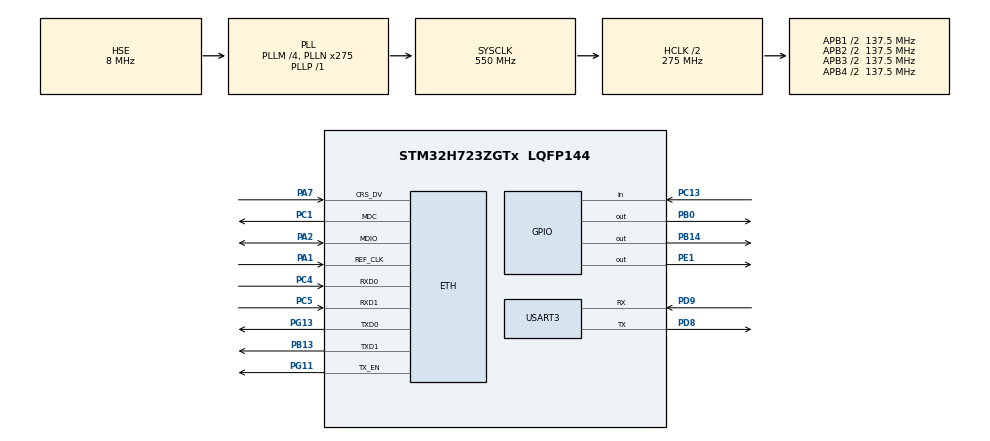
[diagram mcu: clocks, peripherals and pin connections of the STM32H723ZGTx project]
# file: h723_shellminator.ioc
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CORTEX_M7.default_mode_Activation=1
Dma.Request0=USART3_RX
Dma.USART3_RX.0.Direction=DMA_PERIPH_TO_MEMORY
Dma.USART3_RX.0.EventEnable=DISABLE
Dma.USART3_RX.0.FIFOMode=DMA_FIFOMODE_DISABLE
Dma.USART3_RX.0.Instance=DMA1_Stream0
Dma.USART3_RX.0.MemDataAlignment=DMA_MDATAALIGN_BYTE
Dma.USART3_RX.0.MemInc=DMA_MINC_ENABLE
Dma.USART3_RX.0.Mode=DMA_CIRCULAR
Dma.USART3_RX.0.PeriphDataAlignment=DMA_PDATAALIGN_BYTE
Dma.USART3_RX.0.PeriphInc=DMA_PINC_DISABLE
Dma.USART3_RX.0.Polarity=HAL_DMAMUX_REQ_GEN_RISING
Dma.USART3_RX.0.Priority=DMA_PRIORITY_MEDIUM
Dma.USART3_RX.0.RequestNumber=1
Dma.USART3_RX.0.SignalID=NONE
Dma.USART3_RX.0.SyncEnable=DISABLE
Dma.USART3_RX.0.SyncPolarity=HAL_DMAMUX_SYNC_NO_EVENT
Dma.USART3_RX.0.SyncRequestNumber=1
Dma.USART3_RX.0.SyncSignalID=NONE
ETH.MediaInterface=HAL_ETH_RMII_MODE
Mcu.Family=STM32H7
Mcu.Name=STM32H723ZGTx
Mcu.Package=LQFP144
NUCLEO-H723ZG.BUTTON=1
NUCLEO-H723ZG.LD1=true
NUCLEO-H723ZG.LD2=true
NUCLEO-H723ZG.LD3=true
NUCLEO-H723ZG.VCP=false
NVIC.DMA1_Stream0_IRQn=true\:0\:0\:false\:false\:true\:false\:true\:true
NVIC.ETH_IRQn=true\:0\:0\:false\:false\:false\:true\:true\:true
NVIC.EXTI15_10_IRQn=true\:0\:0\:false\:false\:true\:false\:true\:true
NVIC.PriorityGroup=NVIC_PRIORITYGROUP_4
PA1.Mode=RMII
PA1.Signal=ETH_REF_CLK
PA13(JTMS/SWDIO).GPIO_Label=SWDIO
PA13(JTMS/SWDIO).Signal=DEBUG_JTMS-SWDIO
PA14(JTCK/SWCLK).GPIO_Label=SWCLK
PA14(JTCK/SWCLK).Signal=DEBUG_JTCK-SWCLK
PA2.Mode=RMII
PA2.Signal=ETH_MDIO
PA7.Mode=RMII
PA7.Signal=ETH_CRS_DV
PB0.Signal=GPIO_Output
PB13.Mode=RMII
PB13.Signal=ETH_TXD1
PB14.Signal=GPIO_Output
PC1.Mode=RMII
PC1.Signal=ETH_MDC
PC13.Signal=GPIO_Input
PC14-OSC32_IN.Mode=LSE-External-Oscillator
PC14-OSC32_IN.Signal=RCC_OSC32_IN
PC15-OSC32_OUT.Mode=LSE-External-Oscillator
PC15-OSC32_OUT.Signal=RCC_OSC32_OUT
PC4.Mode=RMII
PC4.Signal=ETH_RXD0
PC5.Mode=RMII
PC5.Signal=ETH_RXD1
PD8.Mode=Asynchronous
PD8.Signal=USART3_TX
PD9.Mode=Asynchronous
PD9.Signal=USART3_RX
PE1.Signal=GPIO_Output
PG11.Mode=RMII
PG11.Signal=ETH_TX_EN
PG13.Mode=RMII
PG13.Signal=ETH_TXD0
PH0-OSC_IN.Mode=HSE-External-Clock-Source
PH0-OSC_IN.Signal=RCC_OSC_IN
ProjectManager.HeapSize=0x200
ProjectManager.StackSize=0x400
ProjectManager.TargetToolchain=STM32CubeIDE
RCC.ADCFreq_Value=76000000
RCC.APB1Freq_Value=137500000
RCC.APB2Freq_Value=137500000
RCC.APB3Freq_Value=137500000
RCC.APB4Freq_Value=137500000
RCC.CortexFreq_Value=550000000
RCC.D1PPRE=RCC_APB3_DIV2
RCC.D2PPRE1=RCC_APB1_DIV2
RCC.D2PPRE2=RCC_APB2_DIV2
RCC.D3PPRE=RCC_APB4_DIV2
RCC.DIVM1=4
RCC.DIVM2=1
RCC.DIVN1=275
RCC.DIVN2=19
RCC.DIVP1=1
RCC.DIVQ1=4
RCC.HCLKFreq_Value=275000000
RCC.HPRE=RCC_HCLK_DIV2
RCC.HSE_VALUE=8000000
RCC.PLLFRACN=0
RCC.PLLSourceVirtual=RCC_PLLSOURCE_HSE
RCC.SYSCLKFreq_VALUE=550000000
RCC.SYSCLKSource=RCC_SYSCLKSOURCE_PLLCLK
RCC.USBCLockSelection=RCC_USBCLKSOURCE_HSI48
RCC.USBFreq_Value=48000000
USART3.VirtualMode-Asynchronous=VM_ASYNC
VP_MEMORYMAP_VS_MEMORYMAP.Mode=CurAppReg
VP_NUCLEO-H723ZG_VS_BSP_COMMON.Mode=COMMON
VP_RNG_VS_RNG.Mode=RNG_Activate
board=NUCLEO-H723ZG

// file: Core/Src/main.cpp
/* USER CODE BEGIN Header */
/**
  ******************************************************************************
  * @file           : main.c
  * @brief          : Main program body
  ******************************************************************************
  * @attention
  *
  * Copyright (c) 2025 STMicroelectronics.
  * All rights reserved.
  *
  * This software is licensed under terms that can be found in the LICENSE file
  * in the root directory of this software component.
  * If no LICENSE file comes with this software, it is provided AS-IS.
  *
  *
  *
  * See https://www.shellminator.org/html/md_extras__assets__docu_pages_installation_page.html#installation_page
  *
  ******************************************************************************
  */
//NOTE:  added a #define STM32H7xx as part of the build settings

/* USER CODE END Header */
#include <stdio.h>

#include "main.h"
#include "string.h"

/* USER CODE BEGIN Includes */
#include "Serial.hpp"
#include "shell_cmds.hpp"
#include "printf_retarget.hpp"
#include "mongoose.h"

/* USER CODE END Includes */

#if defined ( __ICCARM__ ) /*!< IAR Compiler */
#pragma location=0x30000000
ETH_DMADescTypeDef  DMARxDscrTab[ETH_RX_DESC_CNT]; /* Ethernet Rx DMA Descriptors */
#pragma location=0x30000080
ETH_DMADescTypeDef  DMATxDscrTab[ETH_TX_DESC_CNT]; /* Ethernet Tx DMA Descriptors */

#elif defined ( __CC_ARM )  /* MDK ARM Compiler */

__attribute__((at(0x30000000))) ETH_DMADescTypeDef  DMARxDscrTab[ETH_RX_DESC_CNT]; /* Ethernet Rx DMA Descriptors */
__attribute__((at(0x30000080))) ETH_DMADescTypeDef  DMATxDscrTab[ETH_TX_DESC_CNT]; /* Ethernet Tx DMA Descriptors */

#elif defined ( __GNUC__ ) /* GNU Compiler */

ETH_DMADescTypeDef DMARxDscrTab[ETH_RX_DESC_CNT] __attribute__((section(".RxDescripSection"))); /* Ethernet Rx DMA Descriptors */
ETH_DMADescTypeDef DMATxDscrTab[ETH_TX_DESC_CNT] __attribute__((section(".TxDescripSection")));   /* Ethernet Tx DMA Descriptors */
#endif

ETH_TxPacketConfig TxConfig;

ETH_HandleTypeDef heth;

RNG_HandleTypeDef hrng;

UART_HandleTypeDef huart3;
DMA_HandleTypeDef hdma_usart3_rx;

/* USER CODE BEGIN PV */

Serial usart3( &huart3 );
Shellminator shell( &usart3 );
Commander commander;

Commander::systemCommand_t API_tree[] = {
	systemCommand("ping", "Ping serial interface.", shell_cmds_ping_func ),
	systemCommand("echo", "Echo text.", shell_cmds_echo_func ),
	systemCommand("args", "Echo args.", shell_cmds_echo_args_func),
	systemCommand("led", "LED <i> <0|1>", shell_cmds_led_func)
};

/* USER CODE END PV */

void SystemClock_Config(void);
static void MPU_Config(void);
static void MX_GPIO_Init(void);
static void MX_DMA_Init(void);
static void MX_USART3_UART_Init(void);
static void MX_ETH_Init(void);
static void MX_RNG_Init(void);

/* USER CODE BEGIN 0 */

uint64_t mg_millis(void) {
  return HAL_GetTick();
}

bool mg_random(void *buf, size_t len){
	for(size_t n=0; n<len; n+=sizeof(uint32_t)){
		uint32_t r;
		HAL_RNG_GenerateRandomNumber(&hrng, &r);
		memcpy((char *)buf+n, &r, n+sizeof(r) > len ? len-n : sizeof(r));
	}
	return true;
}

static void event_handler(struct mg_connection *c, int ev, void *ev_data) {

  if (ev == MG_EV_HTTP_MSG) {
    struct mg_http_message *hm = (struct mg_http_message *) ev_data;
    if (mg_match(hm->uri, mg_str("/api/led/get"), NULL)) {
      mg_http_reply(c, 200, "", "%d\n", HAL_GPIO_ReadPin(GPIOB, GPIO_PIN_0));
    } else if (mg_match(hm->uri, mg_str("/api/led/toggle"), NULL)) {
      HAL_GPIO_TogglePin(GPIOB, GPIO_PIN_0); // Can be different on your board
      mg_http_reply(c, 200, "", "true\n");
    } else {
      struct mg_http_serve_opts opts = {.root_dir = "/web_root", .fs = &mg_fs_packed};
      mg_http_serve_dir(c, hm, &opts);
    }
  }
}

// In RTOS environment, run this function in a separate task. Give it 8k stack
static void run_mongoose(void) {

	struct mg_mgr mgr;        // Mongoose event manager

	mg_mgr_init(&mgr);        // Initialise event manager

	mg_log_set(MG_LL_DEBUG);  // Set log level to debug

	mg_http_listen(&mgr, "http://0.0.0.0:80", event_handler, NULL);

	for (;;) {                // Infinite event loop

		mg_mgr_poll(&mgr, 0);   // Process network events

	}

}

/* USER CODE END 0 */

int main(void)
{

  /* MPU Configuration--------------------------------------------------------*/
  MPU_Config();

  /* MCU Configuration--------------------------------------------------------*/

  /* Reset of all peripherals, Initializes the Flash interface and the Systick. */
  HAL_Init();

  /* Configure the system clock */
  SystemClock_Config();

  /* Initialize all configured peripherals */
  MX_GPIO_Init();
  MX_DMA_Init();
  MX_USART3_UART_Init();
  MX_ETH_Init();
  MX_RNG_Init();
  /* USER CODE BEGIN 2 */

  /* Initialize leds */
  BSP_LED_Init(LED_GREEN);
  BSP_LED_Init(LED_YELLOW);
  BSP_LED_Init(LED_RED);
  run_mongoose();

  usart3.begin( 115200 );

  ShellminatorCommanderInterface shell( &usart3 );
  shell.clear();
  commander.attachDebugChannel( &usart3 );
  commander.attachTree( API_tree );
  commander.init();

  shell.attachCommander(&commander);

  shell.begin("STM32");

  /* USER CODE END 2 */

  /* Initialize USER push-button, will be used to trigger an interrupt each time it's pressed.*/
  BSP_PB_Init(BUTTON_USER, BUTTON_MODE_EXTI);

  /* Infinite loop */
  while (1)
  {

    /* USER CODE BEGIN 3 */
	shell.update();

	printf("Tick: %lu\r\n", HAL_GetTick());

	HAL_Delay(500);

  }
  /* USER CODE END 3 */
}

void SystemClock_Config(void)
{
  RCC_OscInitTypeDef RCC_OscInitStruct = {0};
  RCC_ClkInitTypeDef RCC_ClkInitStruct = {0};

  /** Supply configuration update enable
  */
  HAL_PWREx_ConfigSupply(PWR_LDO_SUPPLY);

  /** Configure the main internal regulator output voltage
  */
  __HAL_PWR_VOLTAGESCALING_CONFIG(PWR_REGULATOR_VOLTAGE_SCALE0);

  while(!__HAL_PWR_GET_FLAG(PWR_FLAG_VOSRDY)) {}

  /** Initializes the RCC Oscillators according to the specified parameters
  * in the RCC_OscInitTypeDef structure.
  */
  RCC_OscInitStruct.OscillatorType = RCC_OSCILLATORTYPE_HSI48|RCC_OSCILLATORTYPE_HSE;
  RCC_OscInitStruct.HSEState = RCC_HSE_BYPASS;
  RCC_OscInitStruct.HSI48State = RCC_HSI48_ON;
  RCC_OscInitStruct.PLL.PLLState = RCC_PLL_ON;
  RCC_OscInitStruct.PLL.PLLSource = RCC_PLLSOURCE_HSE;
  RCC_OscInitStruct.PLL.PLLM = 4;
  RCC_OscInitStruct.PLL.PLLN = 275;
  RCC_OscInitStruct.PLL.PLLP = 1;
  RCC_OscInitStruct.PLL.PLLQ = 4;
  RCC_OscInitStruct.PLL.PLLR = 2;
  RCC_OscInitStruct.PLL.PLLRGE = RCC_PLL1VCIRANGE_1;
  RCC_OscInitStruct.PLL.PLLVCOSEL = RCC_PLL1VCOWIDE;
  RCC_OscInitStruct.PLL.PLLFRACN = 0;
  if (HAL_RCC_OscConfig(&RCC_OscInitStruct) != HAL_OK)
  {
    Error_Handler();
  }

  /** Initializes the CPU, AHB and APB buses clocks
  */
  RCC_ClkInitStruct.ClockType = RCC_CLOCKTYPE_HCLK|RCC_CLOCKTYPE_SYSCLK
                              |RCC_CLOCKTYPE_PCLK1|RCC_CLOCKTYPE_PCLK2
                              |RCC_CLOCKTYPE_D3PCLK1|RCC_CLOCKTYPE_D1PCLK1;
  RCC_ClkInitStruct.SYSCLKSource = RCC_SYSCLKSOURCE_PLLCLK;
  RCC_ClkInitStruct.SYSCLKDivider = RCC_SYSCLK_DIV1;
  RCC_ClkInitStruct.AHBCLKDivider = RCC_HCLK_DIV2;
  RCC_ClkInitStruct.APB3CLKDivider = RCC_APB3_DIV2;
  RCC_ClkInitStruct.APB1CLKDivider = RCC_APB1_DIV2;
  RCC_ClkInitStruct.APB2CLKDivider = RCC_APB2_DIV2;
  RCC_ClkInitStruct.APB4CLKDivider = RCC_APB4_DIV2;

  if (HAL_RCC_ClockConfig(&RCC_ClkInitStruct, FLASH_LATENCY_3) != HAL_OK)
  {
    Error_Handler();
  }
}

static void MX_ETH_Init(void)
{

   static uint8_t MACAddr[6];

  heth.Instance = ETH;
  MACAddr[0] = 0x00;
  MACAddr[1] = 0x80;
  MACAddr[2] = 0xE1;
  MACAddr[3] = 0x00;
  MACAddr[4] = 0x00;
  MACAddr[5] = 0x00;
  heth.Init.MACAddr = &MACAddr[0];
  heth.Init.MediaInterface = HAL_ETH_RMII_MODE;
  heth.Init.TxDesc = DMATxDscrTab;
  heth.Init.RxDesc = DMARxDscrTab;
  heth.Init.RxBuffLen = 1536;

  if (HAL_ETH_Init(&heth) != HAL_OK)
  {
    Error_Handler();
  }

  memset(&TxConfig, 0 , sizeof(ETH_TxPacketConfig));
  TxConfig.Attributes = ETH_TX_PACKETS_FEATURES_CSUM | ETH_TX_PACKETS_FEATURES_CRCPAD;
  TxConfig.ChecksumCtrl = ETH_CHECKSUM_IPHDR_PAYLOAD_INSERT_PHDR_CALC;
  TxConfig.CRCPadCtrl = ETH_CRC_PAD_INSERT;

}

static void MX_RNG_Init(void)
{

  hrng.Instance = RNG;
  hrng.Init.ClockErrorDetection = RNG_CED_ENABLE;
  if (HAL_RNG_Init(&hrng) != HAL_OK)
  {
    Error_Handler();
  }

}

static void MX_USART3_UART_Init(void)
{

  huart3.Instance = USART3;
  huart3.Init.BaudRate = 115200;
  huart3.Init.WordLength = UART_WORDLENGTH_8B;
  huart3.Init.StopBits = UART_STOPBITS_1;
  huart3.Init.Parity = UART_PARITY_NONE;
  huart3.Init.Mode = UART_MODE_TX_RX;
  huart3.Init.HwFlowCtl = UART_HWCONTROL_NONE;
  huart3.Init.OverSampling = UART_OVERSAMPLING_16;
  huart3.Init.OneBitSampling = UART_ONE_BIT_SAMPLE_DISABLE;
  huart3.Init.ClockPrescaler = UART_PRESCALER_DIV1;
  huart3.AdvancedInit.AdvFeatureInit = UART_ADVFEATURE_NO_INIT;
  if (HAL_UART_Init(&huart3) != HAL_OK)
  {
    Error_Handler();
  }
  if (HAL_UARTEx_SetTxFifoThreshold(&huart3, UART_TXFIFO_THRESHOLD_1_8) != HAL_OK)
  {
    Error_Handler();
  }
  if (HAL_UARTEx_SetRxFifoThreshold(&huart3, UART_RXFIFO_THRESHOLD_1_8) != HAL_OK)
  {
    Error_Handler();
  }
  if (HAL_UARTEx_DisableFifoMode(&huart3) != HAL_OK)
  {
    Error_Handler();
  }

}

static void MX_DMA_Init(void)
{

  /* DMA controller clock enable */
  __HAL_RCC_DMA1_CLK_ENABLE();

  /* DMA interrupt init */
  /* DMA1_Stream0_IRQn interrupt configuration */
  HAL_NVIC_SetPriority(DMA1_Stream0_IRQn, 0, 0);
  HAL_NVIC_EnableIRQ(DMA1_Stream0_IRQn);

}

static void MX_GPIO_Init(void)
{

  /* GPIO Ports Clock Enable */
  __HAL_RCC_GPIOC_CLK_ENABLE();
  __HAL_RCC_GPIOH_CLK_ENABLE();
  __HAL_RCC_GPIOA_CLK_ENABLE();
  __HAL_RCC_GPIOB_CLK_ENABLE();
  __HAL_RCC_GPIOD_CLK_ENABLE();
  __HAL_RCC_GPIOG_CLK_ENABLE();

}

 /* MPU Configuration */

void MPU_Config(void)
{
  MPU_Region_InitTypeDef MPU_InitStruct = {0};

  /* Disables the MPU */
  HAL_MPU_Disable();

  /** Initializes and configures the Region and the memory to be protected
  */
  MPU_InitStruct.Enable = MPU_REGION_ENABLE;
  MPU_InitStruct.Number = MPU_REGION_NUMBER0;
  MPU_InitStruct.BaseAddress = 0x0;
  MPU_InitStruct.Size = MPU_REGION_SIZE_4GB;
  MPU_InitStruct.SubRegionDisable = 0x87;
  MPU_InitStruct.TypeExtField = MPU_TEX_LEVEL0;
  MPU_InitStruct.AccessPermission = MPU_REGION_NO_ACCESS;
  MPU_InitStruct.DisableExec = MPU_INSTRUCTION_ACCESS_DISABLE;
  MPU_InitStruct.IsShareable = MPU_ACCESS_SHAREABLE;
  MPU_InitStruct.IsCacheable = MPU_ACCESS_NOT_CACHEABLE;
  MPU_InitStruct.IsBufferable = MPU_ACCESS_NOT_BUFFERABLE;

  HAL_MPU_ConfigRegion(&MPU_InitStruct);
  /* Enables the MPU */
  HAL_MPU_Enable(MPU_PRIVILEGED_DEFAULT);

}

void Error_Handler(void)
{
  __disable_irq();
  while (1)
  {
  }
}
